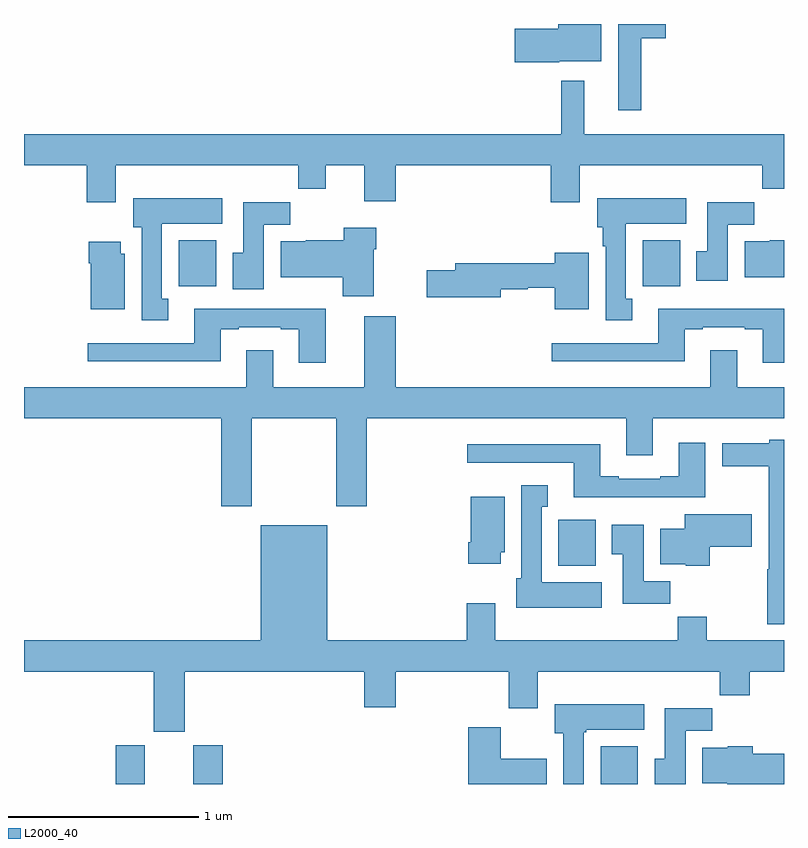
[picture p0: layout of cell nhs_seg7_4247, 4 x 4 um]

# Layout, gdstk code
import gdstk
lib = gdstk.Library(unit=1e-6, precision=1e-09)
def R(c, l, rs):  # rectangles x0, y0, x1, y1
    for r in rs: c.add(gdstk.rectangle(r[:2], r[2:], *l))
def P(c, l, *ps):  # polygons
    for p in ps: c.add(gdstk.Polygon(p, *l))
L2000_40 = (2000, 40)

nhs_seg7_4247 = lib.new_cell('nhs_seg7_4247')
R(nhs_seg7_4247, L2000_40, [(379.484,1024,379.636,1024.203), (379.892,1024,380.045,1024.203), (382.035,1024,382.231,1024.198), (381.812,1025.15,382.009,1025.392), (379.814,1026.62,380.011,1026.862), (382.256,1026.62,382.453,1026.862)])
P(nhs_seg7_4247, L2000_40, [(382.249,1027.925),(382.378,1027.925),(382.378,1028),(382.127,1028),(382.127,1027.545),(382.249,1027.545)],
  [(381.816,1027.805),(382.039,1027.805),(382.039,1028),(381.812,1028),(381.812,1027.976),(381.582,1027.976),(381.582,1027.798),(381.816,1027.798)],
  [(379.483,1027.256),(380.443,1027.256),(380.443,1027.132),(380.587,1027.132),(380.587,1027.256),(380.792,1027.256),(380.792,1027.068),(380.956,1027.068),(380.956,1027.256),(381.773,1027.256),(381.773,1027.062),(381.925,1027.062),(381.925,1027.256),(382.885,1027.256),(382.885,1027.132),(383,1027.132),(383,1027.42),(381.949,1027.42),(381.949,1027.702),(381.828,1027.702),(381.828,1027.42),(379,1027.42),(379,1027.256),(379.331,1027.256),(379.331,1027.062),(379.483,1027.062)],
  [(382.201,1026.554),(382.168,1026.554),(382.168,1026.95),(382.486,1026.95),(382.486,1027.084),(382.016,1027.084),(382.016,1026.93),(382.046,1026.93),(382.046,1026.83),(382.061,1026.83),(382.061,1026.441),(382.201,1026.441)],
  [(379.759,1026.554),(379.726,1026.554),(379.726,1026.95),(380.044,1026.95),(380.044,1027.084),(379.574,1027.084),(379.574,1026.93),(379.619,1026.93),(379.619,1026.441),(379.759,1026.441)],
  [(382.705,1026.944),(382.844,1026.944),(382.844,1027.063),(382.595,1027.063),(382.595,1026.804),(382.538,1026.804),(382.538,1026.648),(382.705,1026.648)],
  [(380.263,1026.944),(380.402,1026.944),(380.402,1027.063),(380.153,1027.063),(380.153,1026.796),(380.099,1026.796),(380.099,1026.603),(380.263,1026.603)],
  [(380.842,1026.815),(380.855,1026.815),(380.855,1026.928),(380.684,1026.928),(380.684,1026.862),(380.484,1026.862),(380.484,1026.856),(380.351,1026.856),(380.351,1026.668),(380.677,1026.668),(380.677,1026.567),(380.842,1026.567)],
  [(383,1026.862),(382.926,1026.862),(382.926,1026.856),(382.793,1026.856),(382.793,1026.668),(383,1026.668)],
  [(379.531,1026.792),(379.51,1026.792),(379.51,1026.853),(379.34,1026.853),(379.34,1026.74),(379.352,1026.74),(379.352,1026.5),(379.531,1026.5)],
  [(381.973,1026.796),(381.794,1026.796),(381.794,1026.74),(381.269,1026.74),(381.269,1026.704),(381.12,1026.704),(381.12,1026.562),(381.508,1026.562),(381.508,1026.604),(381.651,1026.604),(381.651,1026.612),(381.794,1026.612),(381.794,1026.5),(381.973,1026.5)],
  [(380.587,1026.502),(380.355,1026.502),(380.355,1026.501),(379.895,1026.501),(379.895,1026.321),(379.335,1026.321),(379.335,1026.224),(380.035,1026.224),(380.035,1026.393),(380.131,1026.393),(380.131,1026.405),(380.351,1026.405),(380.351,1026.393),(380.447,1026.393),(380.447,1026.216),(380.587,1026.216)],
  [(383,1026.502),(382.337,1026.502),(382.337,1026.321),(381.777,1026.321),(381.777,1026.224),(382.477,1026.224),(382.477,1026.393),(382.573,1026.393),(382.573,1026.405),(382.793,1026.405),(382.793,1026.393),(382.889,1026.393),(382.889,1026.216),(383,1026.216)],
  [(380.199,1025.924),(380.644,1025.924),(380.644,1025.463),(380.804,1025.463),(380.804,1025.924),(382.169,1025.924),(382.169,1025.73),(382.309,1025.73),(382.309,1025.924),(383,1025.924),(383,1026.088),(382.753,1026.088),(382.753,1026.283),(382.613,1026.283),(382.613,1026.088),(380.956,1026.088),(380.956,1026.463),(380.792,1026.463),(380.792,1026.088),(380.311,1026.088),(380.311,1026.283),(380.171,1026.283),(380.171,1026.088),(379,1026.088),(379,1025.924),(380.039,1025.924),(380.039,1025.463),(380.199,1025.463)],
  [(383,1025.812),(382.923,1025.812),(382.923,1025.794),(382.674,1025.794),(382.674,1025.672),(382.919,1025.672),(382.919,1025.131),(382.912,1025.131),(382.912,1024.841),(383,1024.841)],
  [(382.585,1025.797),(382.445,1025.797),(382.445,1025.62),(382.349,1025.62),(382.349,1025.607),(382.129,1025.607),(382.129,1025.62),(382.033,1025.62),(382.033,1025.788),(381.333,1025.788),(381.333,1025.691),(381.893,1025.691),(381.893,1025.51),(382.585,1025.51)],
  [(382.042,1025.062),(381.724,1025.062),(381.724,1025.459),(381.757,1025.459),(381.757,1025.572),(381.617,1025.572),(381.617,1025.082),(381.59,1025.082),(381.59,1024.928),(382.042,1024.928)],
  [(381.508,1025.22),(381.529,1025.22),(381.529,1025.512),(381.35,1025.512),(381.35,1025.272),(381.338,1025.272),(381.338,1025.16),(381.508,1025.16)],
  [(382.608,1025.249),(382.831,1025.249),(382.831,1025.419),(382.478,1025.419),(382.478,1025.344),(382.349,1025.344),(382.349,1025.156),(382.482,1025.156),(382.482,1025.15),(382.608,1025.15)],
  [(382.4,1025.068),(382.261,1025.068),(382.261,1025.365),(382.094,1025.365),(382.094,1025.209),(382.151,1025.209),(382.151,1024.95),(382.4,1024.95)],
  [(379.846,1024.592),(380.792,1024.592),(380.792,1024.404),(380.956,1024.404),(380.956,1024.592),(381.551,1024.592),(381.551,1024.398),(381.703,1024.398),(381.703,1024.592),(382.663,1024.592),(382.663,1024.468),(382.82,1024.468),(382.82,1024.592),(383,1024.592),(383,1024.756),(382.593,1024.756),(382.593,1024.88),(382.441,1024.88),(382.441,1024.756),(381.481,1024.756),(381.481,1024.951),(381.329,1024.951),(381.329,1024.756),(380.596,1024.756),(380.596,1025.362),(380.246,1025.362),(380.246,1024.756),(379,1024.756),(379,1024.592),(379.682,1024.592),(379.682,1024.275),(379.846,1024.275)],
  [(381.946,1024.273),(381.96,1024.273),(381.96,1024.286),(382.264,1024.286),(382.264,1024.42),(381.794,1024.42),(381.794,1024.266),(381.839,1024.266),(381.839,1024),(381.946,1024)],
  [(382.483,1024.28),(382.622,1024.28),(382.622,1024.399),(382.373,1024.399),(382.373,1024.132),(382.319,1024.132),(382.319,1024),(382.483,1024)],
  [(381.751,1024.132),(381.508,1024.132),(381.508,1024.3),(381.338,1024.3),(381.338,1024),(381.751,1024)],
  [(383,1024.159),(382.835,1024.159),(382.835,1024.198),(382.704,1024.198),(382.704,1024.192),(382.571,1024.192),(382.571,1024.004),(382.7,1024.004),(382.7,1024),(383,1024)])

lib.write_gds('nhs_seg7_4247.gds')
